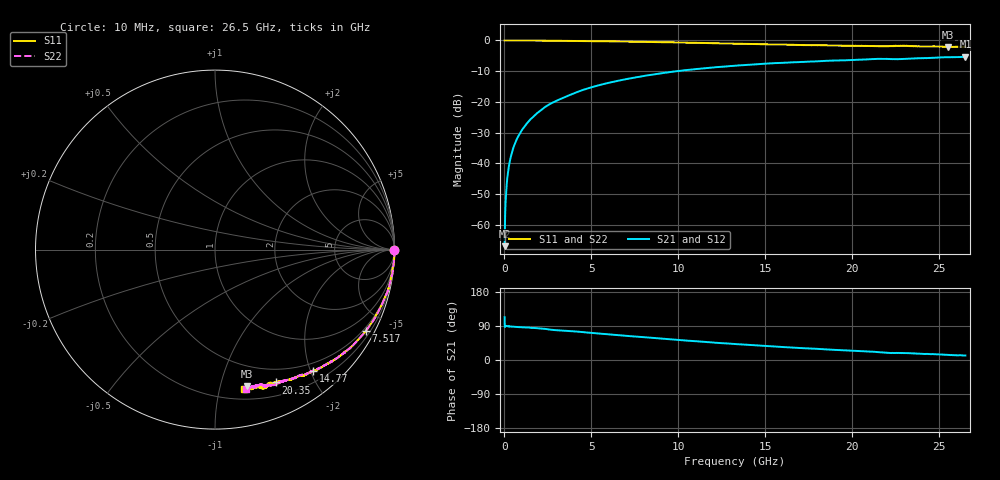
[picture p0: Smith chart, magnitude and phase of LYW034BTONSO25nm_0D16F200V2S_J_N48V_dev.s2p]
!Keysight Technologies,N5222B,MY61253708,A.15.00.15
!Date: Wednesday, June 19, 2024 09:05:54
!Correction: S11(C  2-Port  )
!S21(C  2-Port  )
!S12(C  2-Port  )
!S22(C  2-Port  )
!S2P File: Measurements: S11, S21, S12, S22:
# Hz S  RI  R 50
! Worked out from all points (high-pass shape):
!   2651 points, 10 MHz to 26.5 GHz, reference 50 ohm
!   highest |S21| = -5.30 dB at 26.5 GHz (marker M1); lowest = -67.0 dB at 10 MHz (marker M2)
!   |S21| within 3 dB of the highest: 13.11 GHz to end of sweep
!   lowest |S11| = -2.1 dB at 25.5 GHz (marker M3), VSWR 8.13, Z = 15.6 - j60.8 ohm
!   |S11| at or under -10 dB: nowhere
!   |S22| runs from -2.1 to 0.0 dB; largest |S21 - S12| = 0.0076
!   S11 on the Smith chart (normalised r, x): 10 MHz: open; 7.517 GHz: 0.39, -3.93; 14.77 GHz: 0.36, -2.04; 20.35 GHz: 0.34, -1.51; 26.5 GHz: 0.29, -1.19
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1e7  0.9988 -0.00214  -0.000175 0.000412  4.46e-05 0.000414  0.9983 -0.00106
1.699396e8  0.9998 -0.0122  7e-05 0.00595  6.92e-05 0.00597  0.9996 -0.0115
2.099245e8  0.9996 -0.0148  0.000133 0.00733  0.000129 0.00738  0.9994 -0.0142
2.699019e8  0.9996 -0.0191  0.000211 0.00941  0.00021 0.00949  0.9998 -0.0184
3.798604e8  0.9993 -0.0272  0.000374 0.0132  0.000347 0.0133  0.9991 -0.0263
5.098113e8  0.9989 -0.0355  0.000619 0.0177  0.00063 0.0179  0.9992 -0.0349
6.697509e8  0.998 -0.0463  0.00105 0.0232  0.00107 0.0234  0.9984 -0.0456
8.696755e8  0.9977 -0.0603  0.00181 0.0301  0.0018 0.0303  0.997 -0.0598
1.479445e9  0.9896 -0.1033  0.00443 0.0514  0.00444 0.0516  0.9926 -0.0998
2.359113e9  0.9798 -0.1592  0.0116 0.0826  0.0118 0.0831  0.9812 -0.1596
3.208792e9  0.967 -0.215  0.0235 0.1088  0.0236 0.1095  0.967 -0.2143
4.428332e9  0.937 -0.2895  0.0425 0.1476  0.0429 0.1485  0.9387 -0.2872
5.817808e9  0.8971 -0.3664  0.0739 0.1846  0.075 0.1856  0.8992 -0.367
7.517166e9  0.8401 -0.4521  0.1172 0.2202  0.1185 0.221  0.8399 -0.4532
8.846664e9  0.7879 -0.5121  0.1561 0.242  0.1574 0.2428  0.789 -0.5111
1.3255e10  0.6059 -0.6472  0.2871 0.2608  0.2892 0.2608  0.6088 -0.6463
1.477443e10  0.5471 -0.6773  0.3264 0.2547  0.3282 0.2547  0.5494 -0.6735
1.767333e10  0.4307 -0.7198  0.3926 0.227  0.3957 0.2259  0.4407 -0.7181
2.035232e10  0.3405 -0.74  0.4439 0.1957  0.4459 0.1942  0.355 -0.7409
2.209166e10  0.2972 -0.7467  0.4723 0.1611  0.4738 0.159  0.2904 -0.7531
2.550038e10  0.1797 -0.76  0.5187 0.122  0.5202 0.1232  0.1995 -0.7641
2.65e10  0.1619 -0.7749  0.532 0.1112  0.531 0.1085  0.1738 -0.7741
